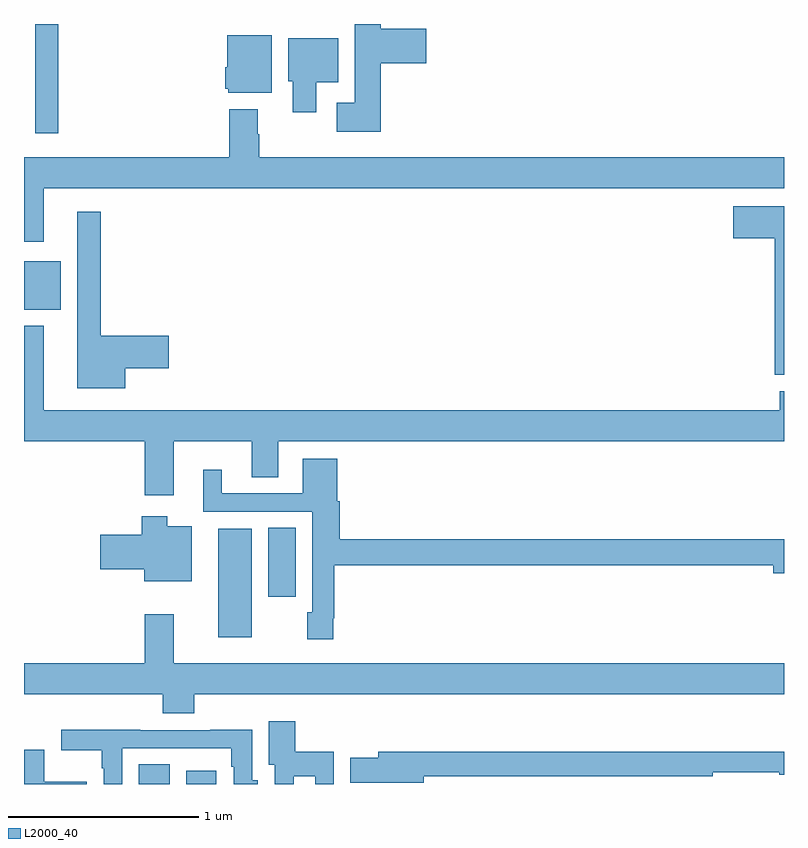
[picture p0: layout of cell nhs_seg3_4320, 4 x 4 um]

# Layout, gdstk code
import gdstk
lib = gdstk.Library(unit=1e-6, precision=1e-09)
def R(c, l, rs):  # rectangles x0, y0, x1, y1
    for r in rs: c.add(gdstk.rectangle(r[:2], r[2:], *l))
def P(c, l, *ps):  # polygons
    for p in ps: c.add(gdstk.Polygon(p, *l))
L2000_40 = (2000, 40)

nhs_seg3_4320 = lib.new_cell('nhs_seg3_4320')
R(nhs_seg3_4320, L2000_40, [(339.605,744.4,339.766,744.503), (339.854,744.4,340.012,744.469), (340.022,745.172,340.198,745.744), (340.286,745.386,340.429,745.748), (339,746.897,339.193,747.151), (339.059,747.825,339.181,748.4)])
P(nhs_seg3_4320, L2000_40, [(340.877,748.193),(341.116,748.193),(341.116,748.376),(340.877,748.376),(340.877,748.4),(340.742,748.4),(340.742,747.985),(340.647,747.985),(340.647,747.833),(340.877,747.833)],
  [(340.303,748.342),(340.07,748.342),(340.07,748.173),(340.058,748.173),(340.058,748.059),(340.074,748.059),(340.074,748.037),(340.303,748.037)],
  [(340.537,748.094),(340.654,748.094),(340.654,748.324),(340.391,748.324),(340.391,748.098),(340.415,748.098),(340.415,747.936),(340.537,747.936)],
  [(339.103,747.536),(343,747.536),(343,747.7),(340.239,747.7),(340.239,747.821),(340.231,747.821),(340.231,747.952),(340.079,747.952),(340.079,747.7),(339,747.7),(339,747.255),(339.103,747.255)],
  [(343,747.442),(342.732,747.442),(342.732,747.272),(342.95,747.272),(342.95,746.555),(343,746.555)],
  [(339.532,746.588),(339.763,746.588),(339.763,746.759),(339.403,746.759),(339.403,747.412),(339.281,747.412),(339.281,746.483),(339.532,746.483)],
  [(339.787,746.204),(340.199,746.204),(340.199,746.014),(340.339,746.014),(340.339,746.204),(343,746.204),(343,746.467),(342.977,746.467),(342.977,746.368),(339.103,746.368),(339.103,746.812),(339,746.812),(339,746.204),(339.635,746.204),(339.635,745.92),(339.787,745.92)],
  [(340.627,745.273),(340.634,745.273),(340.634,745.552),(342.944,745.552),(342.944,745.51),(343,745.51),(343,745.688),(340.661,745.688),(340.661,745.887),(340.648,745.887),(340.648,746.113),(340.466,746.113),(340.466,745.929),(340.042,745.929),(340.042,746.053),(339.944,746.053),(339.944,745.833),(340.518,745.833),(340.518,745.305),(340.492,745.305),(340.492,745.161),(340.627,745.161)],
  [(339.883,745.756),(339.754,745.756),(339.754,745.81),(339.62,745.81),(339.62,745.712),(339.402,745.712),(339.402,745.529),(339.632,745.529),(339.632,745.466),(339.883,745.466)],
  [(339.896,744.872),(343,744.872),(343,745.036),(339.787,745.036),(339.787,745.294),(339.635,745.294),(339.635,745.036),(339,745.036),(339,744.872),(339.731,744.872),(339.731,744.773),(339.896,744.773)],
  [(340.42,744.442),(340.533,744.442),(340.533,744.4),(340.629,744.4),(340.629,744.571),(340.428,744.571),(340.428,744.73),(340.289,744.73),(340.289,744.501),(340.319,744.501),(340.319,744.4),(340.42,744.4)],
  [(339.516,744.588),(340.092,744.588),(340.092,744.491),(340.104,744.491),(340.104,744.4),(340.231,744.4),(340.231,744.42),(340.2,744.42),(340.2,744.686),(339.979,744.686),(339.979,744.684),(339.613,744.684),(339.613,744.686),(339.195,744.686),(339.195,744.578),(339.408,744.578),(339.408,744.482),(339.42,744.482),(339.42,744.4),(339.516,744.4)],
  [(339.331,744.412),(339.106,744.412),(339.106,744.58),(339,744.58),(339,744.4),(339.331,744.4)],
  [(341.104,744.442),(342.626,744.442),(342.626,744.462),(342.976,744.462),(342.976,744.45),(343,744.45),(343,744.571),(340.865,744.571),(340.865,744.537),(340.716,744.537),(340.716,744.407),(341.104,744.407)])

lib.write_gds('nhs_seg3_4320.gds')
